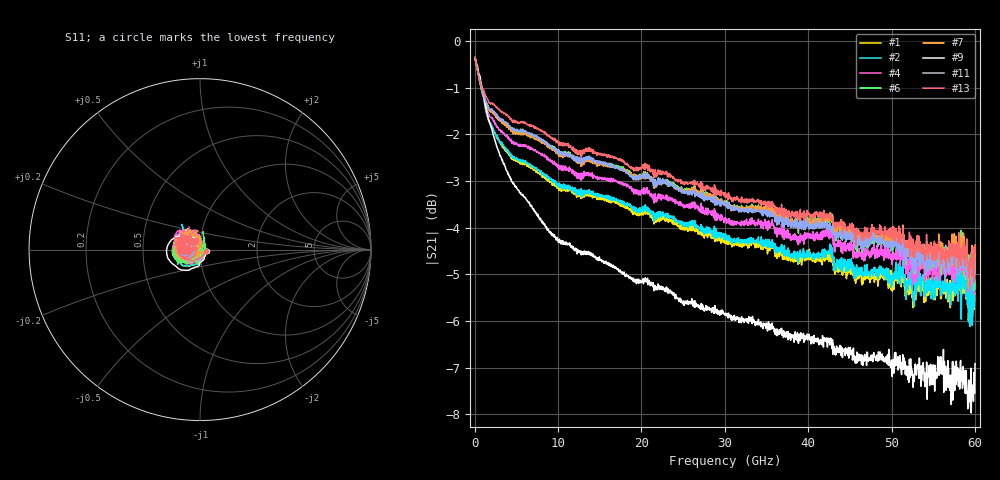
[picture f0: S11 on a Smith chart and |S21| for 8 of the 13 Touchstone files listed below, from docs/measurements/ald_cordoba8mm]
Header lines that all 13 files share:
! File created by 'SoftPlot +Plus+ Measurement Management Software'
! SoftPlot +Plus+ Measurement Management Software
! Start 40.000000 MHz  Stop 60.000000 GHz  Points 1601
# MHZ S RI R 50
! S-Parameter data, F S11 S21 S12 S22
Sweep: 40 MHz to 60 GHz
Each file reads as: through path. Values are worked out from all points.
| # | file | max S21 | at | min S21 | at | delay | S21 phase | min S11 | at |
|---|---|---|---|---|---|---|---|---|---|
| 1 | 4CA0162_ALD_01.s2p | -0.35 dB | 40 MHz | -6.0 dB | 59.21 GHz | 61.1 ps | 51 deg at 30.02 GHz | -39.3 dB | 57.94 GHz |
| 2 | 4CA0162_ALD_03.s2p | -0.37 dB | 40 MHz | -6.1 dB | 59.4 GHz | 60.9 ps | 53 deg at 30.02 GHz | -36.4 dB | 58.65 GHz |
| 3 | 4CA0162_ALD_05.s2p | -0.37 dB | 40 MHz | -5.7 dB | 59.55 GHz | 60.8 ps | 55 deg at 30.02 GHz | -42.4 dB | 50.89 GHz |
| 4 | 4CA0162_ALD_07.s2p | -0.36 dB | 40 MHz | -5.4 dB | 59.85 GHz | 60.8 ps | 55 deg at 30.02 GHz | -45.3 dB | 60 GHz |
| 5 | 4CA0162_ALD_09.s2p | -0.37 dB | 40 MHz | -5.5 dB | 59.48 GHz | 60.7 ps | 56 deg at 30.02 GHz | -54.3 dB | 58.69 GHz |
| 6 | 4CA0162_ALD_12.s2p | -0.37 dB | 40 MHz | -5.3 dB | 59.89 GHz | 60.6 ps | 58 deg at 30.02 GHz | -60.1 dB | 49.96 GHz |
| 7 | 4CA0162_ALD_14.s2p | -0.38 dB | 77.47 MHz | -5.3 dB | 59.21 GHz | 60.6 ps | 58 deg at 30.02 GHz | -43.5 dB | 59.55 GHz |
| 8 | 4CA0162_noALD_00.s2p | -0.39 dB | 40 MHz | -6.8 dB | 59.36 GHz | 60.4 ps | 58 deg at 30.02 GHz | -47.8 dB | 39.8 GHz |
| 9 | 4CA0162_noALD_04.s2p | -0.37 dB | 40 MHz | -8.0 dB | 59.55 GHz | 60.5 ps | 54 deg at 30.02 GHz | -27.8 dB | 58.24 GHz |
| 10 | 4CA0162_noALD_08.s2p | -0.38 dB | 40 MHz | -5.4 dB | 59.21 GHz | 59.4 ps | 70 deg at 30.02 GHz | -31.4 dB | 8.284 GHz |
| 11 | 4CA0162_noALD_09.s2p | -0.37 dB | 40 MHz | -5.3 dB | 59.63 GHz | 59.7 ps | 67 deg at 30.02 GHz | -31.3 dB | 58.84 GHz |
| 12 | 4CA0162_noALD_10.s2p | -0.36 dB | 40 MHz | -5.1 dB | 59.51 GHz | 59.7 ps | 68 deg at 30.02 GHz | -29.5 dB | 8.284 GHz |
| 13 | 4CA0162_noALD_13.s2p | -0.36 dB | 40 MHz | -5.2 dB | 59.89 GHz | 59.5 ps | 69 deg at 30.02 GHz | -36.0 dB | 58.84 GHz |
